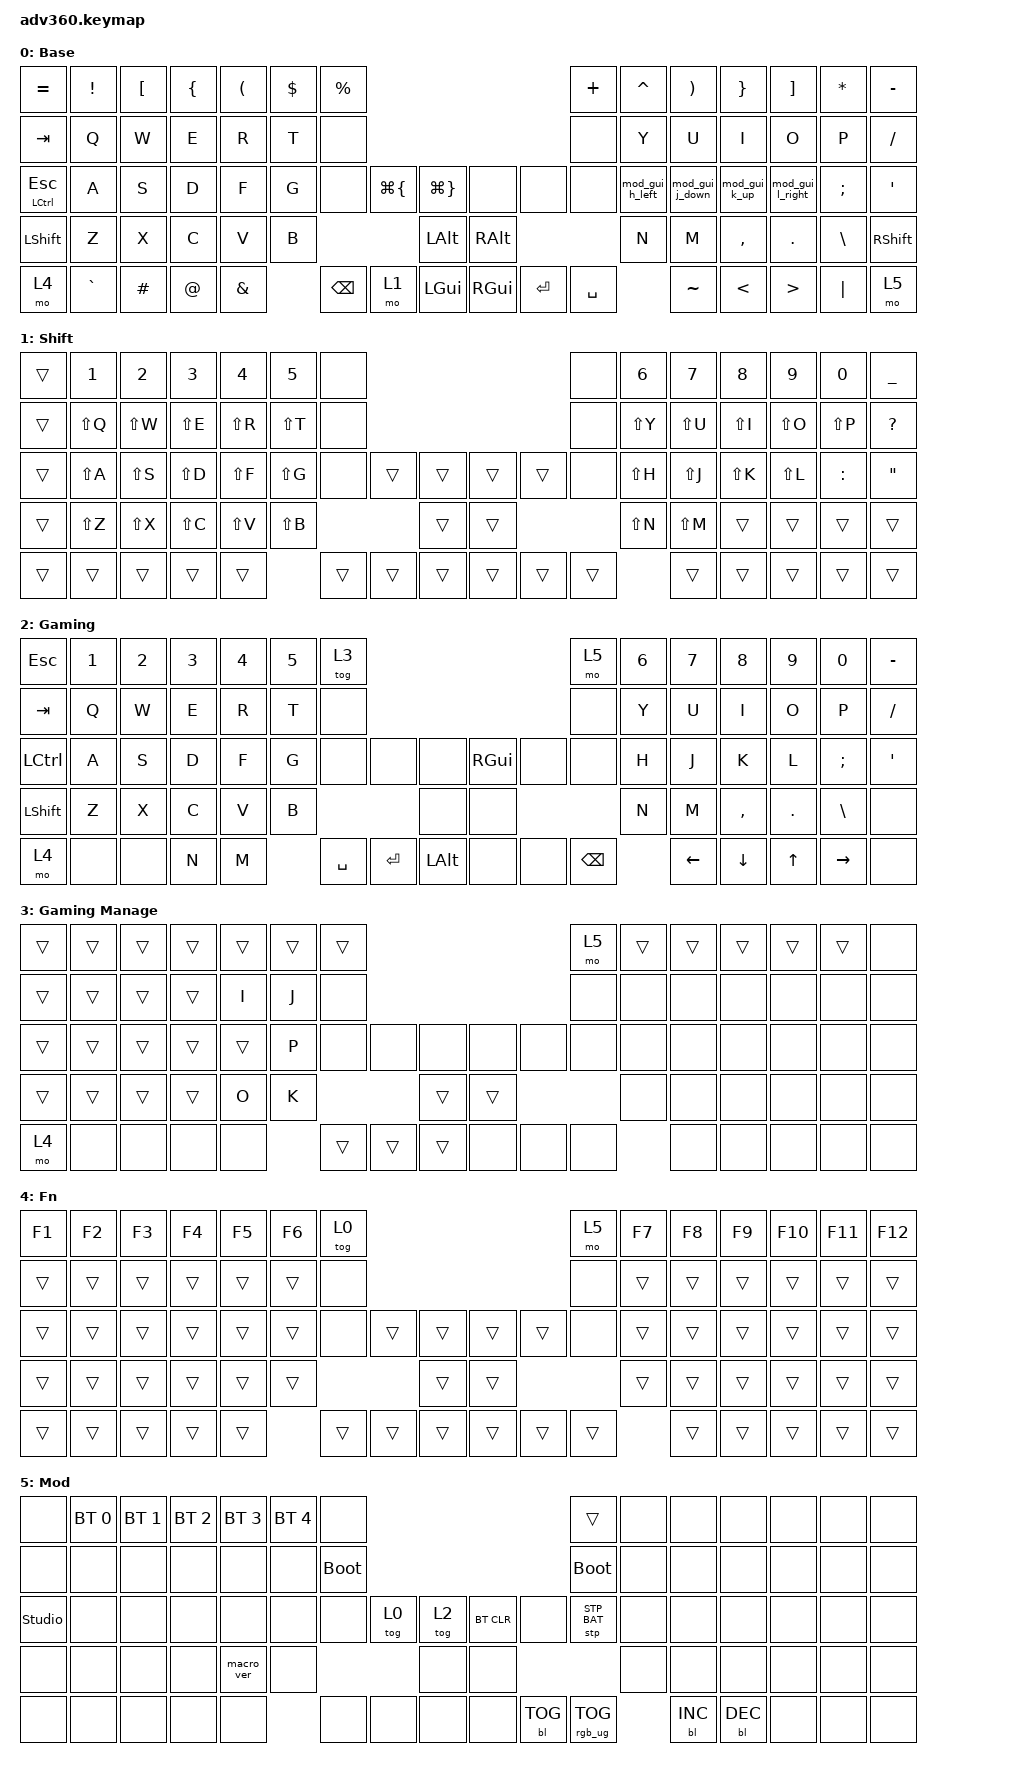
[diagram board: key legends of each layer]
#include <dt-bindings/zmk/stp.h>
#include <behaviors.dtsi>
#include <dt-bindings/zmk/backlight.h>
#include <dt-bindings/zmk/bt.h>
#include <dt-bindings/zmk/keys.h>
#include <dt-bindings/zmk/rgb.h>

/ {
    behaviors {
        #include "macros.dtsi"
#include "version.dtsi"

        hm: homerow_mods {
            compatible = "zmk,behavior-hold-tap";
            label = "HOMEROW_MODS";
            #binding-cells = <2>;
            tapping-term-ms = <200>;
            quick_tap_ms = <175>;
            flavor = "tap-preferred";
            bindings = <&kp>, <&kp>;
        };

        mod_gui_h_left: mod_gui_h_left {
            compatible = "zmk,behavior-mod-morph";
            label = "MOD_GUI_H_LEFT";
            bindings = <&kp H>, <&kp LEFT>;

            #binding-cells = <0>;
            mods = <(MOD_LGUI|MOD_RGUI)>;
            keep-mods = <(MOD_RGUI)>;
        };

        mod_gui_j_down: mod_gui_j_down {
            compatible = "zmk,behavior-mod-morph";
            label = "MOD_GUI_J_DOWN";
            bindings = <&kp J>, <&kp DOWN>;

            #binding-cells = <0>;
            mods = <(MOD_LGUI|MOD_RGUI)>;
            keep-mods = <(MOD_RGUI)>;
        };

        mod_gui_k_up: mod_gui_k_up {
            compatible = "zmk,behavior-mod-morph";
            label = "MOD_GUI_K_UP";
            bindings = <&kp K>, <&kp UP>;

            #binding-cells = <0>;
            mods = <(MOD_LGUI|MOD_RGUI)>;
            keep-mods = <(MOD_RGUI)>;
        };

        mod_gui_l_right: mod_gui_l_right {
            compatible = "zmk,behavior-mod-morph";
            label = "MOD_GUI_L_RIGHT";
            bindings = <&kp L>, <&kp RIGHT>;

            #binding-cells = <0>;
            mods = <(MOD_LGUI|MOD_RGUI)>;
            keep-mods = <(MOD_RGUI)>;
        };
    };

    keymap {
        compatible = "zmk,keymap";

        default_layer {
            display-name = "Base";
            bindings = <
&kp EQUAL      &kp EXCLAMATION  &kp LEFT_BRACKET  &kp LBRC     &kp LEFT_PARENTHESIS  &kp DLLR  &kp PERCENT                                                                    &kp PLUS   &kp CARET        &kp RPAR         &kp RBRC       &kp RBKT          &kp STAR  &kp MINUS
&kp TAB        &kp Q            &kp W             &kp E        &kp R                 &kp T     &none                                                                          &none      &kp Y            &kp U            &kp I          &kp O             &kp P     &kp FSLH
&mt LCTRL ESC  &kp A            &kp S             &kp D        &kp F                 &kp G     &none        &kp LG(LEFT_BRACE)  &kp LG(RIGHT_BRACE)      &none     &none      &none      &mod_gui_h_left  &mod_gui_j_down  &mod_gui_k_up  &mod_gui_l_right  &kp SEMI  &kp SQT
&kp LSHIFT     &kp Z            &kp X             &kp C        &kp V                 &kp B                                      &kp LALT                 &kp RALT                        &kp N            &kp M            &kp COMMA      &kp DOT           &kp BSLH  &kp RSHIFT
&mo 4          &kp GRAVE        &kp HASH          &kp AT_SIGN  &kp AMPERSAND                   &kp BSPC     &mo 1               &kp LGUI                 &kp RGUI  &kp ENTER  &kp SPACE                   &kp TILDE        &kp LESS_THAN  &kp GREATER_THAN  &kp PIPE  &mo 5
            >;
        };

        shift_layer {
            display-name = "Shift";
            bindings = <
&trans  &kp N1     &kp N2     &kp N3     &kp N4     &kp N5     &none                                       &none   &kp N6     &kp N7     &kp N8     &kp N9     &kp N0     &kp UNDER
&trans  &kp LS(Q)  &kp LS(W)  &kp LS(E)  &kp LS(R)  &kp LS(T)  &none                                       &none   &kp LS(Y)  &kp LS(U)  &kp LS(I)  &kp LS(O)  &kp LS(P)  &kp QMARK
&trans  &kp LS(A)  &kp LS(S)  &kp LS(D)  &kp LS(F)  &kp LS(G)  &none   &trans  &trans      &trans  &trans  &none   &kp LS(H)  &kp LS(J)  &kp LS(K)  &kp LS(L)  &kp COLON  &kp DQT
&trans  &kp LS(Z)  &kp LS(X)  &kp LS(C)  &kp LS(V)  &kp LS(B)                  &trans      &trans                  &kp LS(N)  &kp LS(M)  &trans     &trans     &trans     &trans
&trans  &trans     &trans     &trans     &trans                &trans  &trans  &trans      &trans  &trans  &trans             &trans     &trans     &trans     &trans     &trans
            >;
        };

        gaming_layer {
            display-name = "Gaming";
            bindings = <
&kp ESC     &kp N1  &kp N2  &kp N3  &kp N4  &kp N5  &tog 3                                               &mo 5     &kp N6  &kp N7    &kp N8     &kp N9   &kp N0     &kp MINUS
&kp TAB     &kp Q   &kp W   &kp E   &kp R   &kp T   &none                                                &none     &kp Y   &kp U     &kp I      &kp O    &kp P      &kp FSLH
&kp LCTRL   &kp A   &kp S   &kp D   &kp F   &kp G   &none      &none      &none         &kp RGUI  &none  &none     &kp H   &kp J     &kp K      &kp L    &kp SEMI   &kp SQT
&kp LSHIFT  &kp Z   &kp X   &kp C   &kp V   &kp B                         &none         &none                      &kp N   &kp M     &kp COMMA  &kp DOT  &kp BSLH   &none
&mo 4       &none   &none   &kp N   &kp M           &kp SPACE  &kp ENTER  &kp LALT      &none     &none  &kp BSPC          &kp LEFT  &kp DOWN   &kp UP   &kp RIGHT  &none
            >;
        };

        gaming_manage_layer {
            display-name = "Gaming Manage";
            bindings = <
&trans  &trans  &trans  &trans  &trans  &trans  &trans                                     &mo 5  &trans  &trans  &trans  &trans  &trans  &none
&trans  &trans  &trans  &trans  &kp I   &kp J   &none                                      &none  &none   &none   &none   &none   &none   &none
&trans  &trans  &trans  &trans  &trans  &kp P   &none   &none   &none       &none   &none  &none  &none   &none   &none   &none   &none   &none
&trans  &trans  &trans  &trans  &kp O   &kp K                   &trans      &trans                &none   &none   &none   &none   &none   &none
&mo 4   &none   &none   &none   &none           &trans  &trans  &trans      &none   &none  &none          &none   &none   &none   &none   &none
            >;
        };

        fn {
            display-name = "Fn";
            bindings = <
&kp F1  &kp F2  &kp F3  &kp F4  &kp F5  &kp F6  &tog 0                                      &mo 5   &kp F7  &kp F8  &kp F9  &kp F10  &kp F11  &kp F12
&trans  &trans  &trans  &trans  &trans  &trans  &none                                       &none   &trans  &trans  &trans  &trans   &trans   &trans
&trans  &trans  &trans  &trans  &trans  &trans  &none   &trans  &trans      &trans  &trans  &none   &trans  &trans  &trans  &trans   &trans   &trans
&trans  &trans  &trans  &trans  &trans  &trans                  &trans      &trans                  &trans  &trans  &trans  &trans   &trans   &trans
&trans  &trans  &trans  &trans  &trans          &trans  &trans  &trans      &trans  &trans  &trans          &trans  &trans  &trans   &trans   &trans
            >;
        };

        mod {
            display-name = "Mod";
            bindings = <
&none           &bt BT_SEL 0  &bt BT_SEL 1  &bt BT_SEL 2  &bt BT_SEL 3  &bt BT_SEL 4  &none                                                    &trans           &none  &none       &none       &none  &none  &none
&none           &none         &none         &none         &none         &none         &bootloader                                              &bootloader      &none  &none       &none       &none  &none  &none
&studio_unlock  &none         &none         &none         &none         &none         &none        &tog 0  &tog 2      &bt BT_CLR  &none       &stp STP_BAT     &none  &none       &none       &none  &none  &none
&none           &none         &none         &none         &macro_ver    &none                              &none       &none                                    &none  &none       &none       &none  &none  &none
&none           &none         &none         &none         &none                       &none        &none   &none       &none       &bl BL_TOG  &rgb_ug RGB_TOG         &bl BL_INC  &bl BL_DEC  &none  &none  &none
            >;
        };
    };
};
